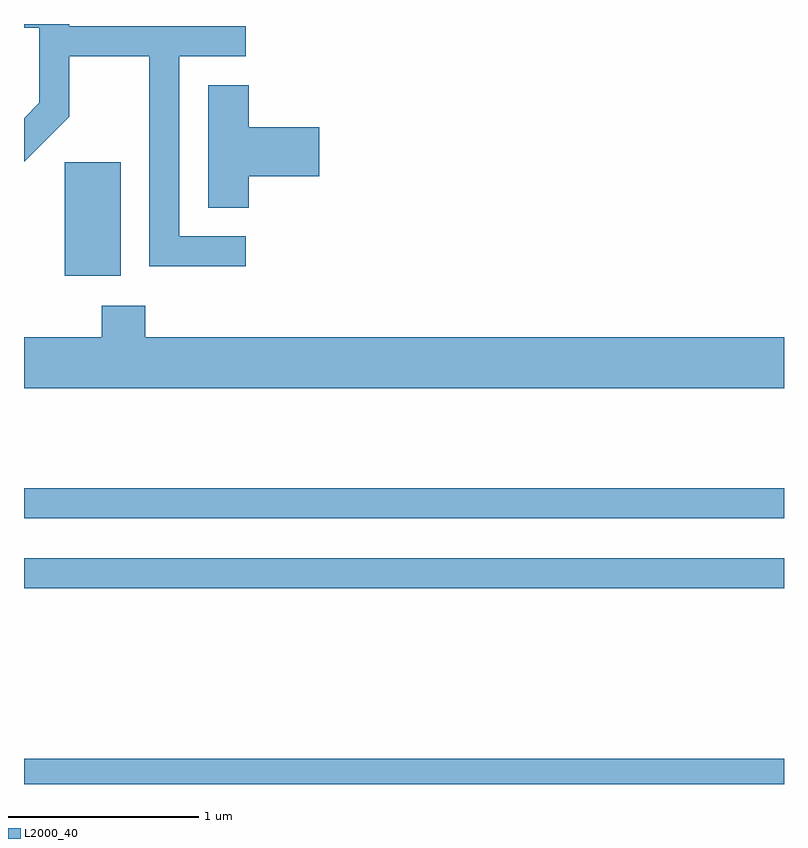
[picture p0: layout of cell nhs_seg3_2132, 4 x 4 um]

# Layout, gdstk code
import gdstk
lib = gdstk.Library(unit=1e-6, precision=1e-09)
def R(c, l, rs):  # rectangles x0, y0, x1, y1
    for r in rs: c.add(gdstk.rectangle(r[:2], r[2:], *l))
def P(c, l, *ps):  # polygons
    for p in ps: c.add(gdstk.Polygon(p, *l))
L2000_40 = (2000, 40)

nhs_seg3_2132 = lib.new_cell('nhs_seg3_2132')
R(nhs_seg3_2132, L2000_40, [(247.611,1163.892,251.611,1164.024), (247.611,1164.921,251.611,1165.079), (247.611,1165.291,251.611,1165.449), (247.826,1166.566,248.119,1167.164)])
P(nhs_seg3_2132, L2000_40, [(248.778,1166.774),(248.429,1166.774),(248.429,1167.721),(248.778,1167.721),(248.778,1167.879),(247.849,1167.879),(247.849,1167.892),(247.611,1167.892),(247.611,1167.871),(247.691,1167.871),(247.691,1167.477),(247.611,1167.397),(247.611,1167.166),(247.849,1167.404),(247.849,1167.721),(248.271,1167.721),(248.271,1166.616),(248.778,1166.616)],
  [(248.794,1167.091),(249.164,1167.091),(249.164,1167.349),(248.794,1167.349),(248.794,1167.569),(248.581,1167.569),(248.581,1166.926),(248.794,1166.926)],
  [(251.611,1166.244),(248.249,1166.244),(248.249,1166.409),(248.021,1166.409),(248.021,1166.244),(247.611,1166.244),(247.611,1165.976),(251.611,1165.976)])

lib.write_gds('nhs_seg3_2132.gds')
